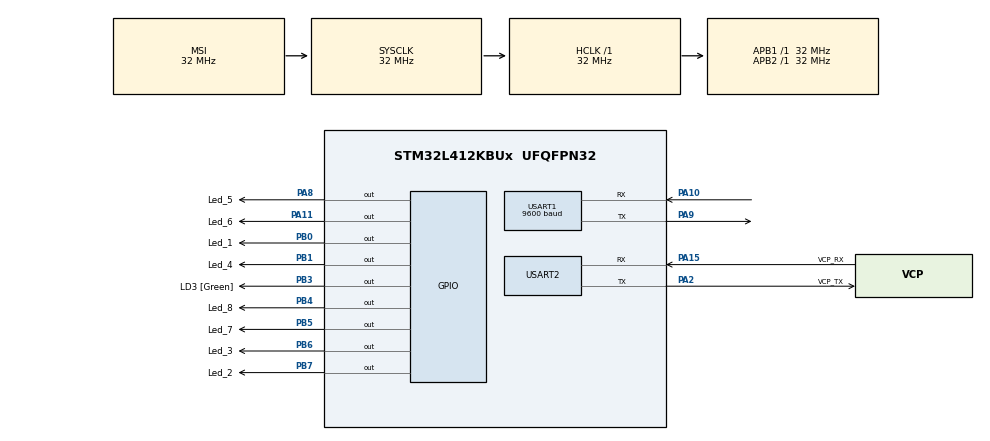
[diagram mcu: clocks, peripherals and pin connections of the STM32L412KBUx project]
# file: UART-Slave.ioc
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Mcu.Family=STM32L4
Mcu.Name=STM32L412KBUx
Mcu.Package=UFQFPN32
NVIC.PriorityGroup=NVIC_PRIORITYGROUP_4
NVIC.USART1_IRQn=true\:0\:0\:false\:false\:true\:true\:true\:true
NVIC.USART2_IRQn=true\:0\:0\:false\:false\:true\:true\:true\:true
PA0-CK_IN.Mode=HSE-External-Clock-Source-for-LittleOrca
PA0-CK_IN.Signal=RCC_CK_IN
PA10.Mode=Asynchronous
PA10.Signal=USART1_RX
PA11.GPIO_Label=Led_6
PA11.Signal=GPIO_Output
PA13\ (JTMS/SWDIO).GPIO_Label=SWDIO
PA13\ (JTMS/SWDIO).Mode=Serial_Wire
PA13\ (JTMS/SWDIO).Signal=SYS_JTMS-SWDIO
PA14\ (JTCK/SWCLK).GPIO_Label=SWCLK
PA14\ (JTCK/SWCLK).Mode=Serial_Wire
PA14\ (JTCK/SWCLK).Signal=SYS_JTCK-SWCLK
PA15\ (JTDI).GPIO_Label=VCP_RX
PA15\ (JTDI).Mode=Asynchronous
PA15\ (JTDI).Signal=USART2_RX
PA2.GPIO_Label=VCP_TX
PA2.Mode=Asynchronous
PA2.Signal=USART2_TX
PA8.GPIO_Label=Led_5
PA8.Signal=GPIO_Output
PA9.Mode=Asynchronous
PA9.Signal=USART1_TX
PB0.GPIO_Label=Led_1
PB0.Signal=GPIO_Output
PB1.GPIO_Label=Led_4
PB1.Signal=GPIO_Output
PB3\ (JTDO/TRACESWO).GPIO_Label=LD3 [Green]
PB3\ (JTDO/TRACESWO).Signal=GPIO_Output
PB4\ (NJTRST).GPIO_Label=Led_8
PB4\ (NJTRST).Signal=GPIO_Output
PB5.GPIO_Label=Led_7
PB5.Signal=GPIO_Output
PB6.GPIO_Label=Led_3
PB6.Signal=GPIO_Output
PB7.GPIO_Label=Led_2
PB7.Signal=GPIO_Output
PC14-OSC32_IN\ (PC14).Mode=LSE-External-Oscillator
PC14-OSC32_IN\ (PC14).Signal=RCC_OSC32_IN
PC15-OSC32_OUT\ (PC15).Mode=LSE-External-Oscillator
PC15-OSC32_OUT\ (PC15).Signal=RCC_OSC32_OUT
ProjectManager.HeapSize=0x200
ProjectManager.StackSize=0x400
ProjectManager.TargetToolchain=STM32CubeIDE
RCC.ADCFreq_Value=32000000
RCC.AHBFreq_Value=32000000
RCC.APB1Freq_Value=32000000
RCC.APB1TimFreq_Value=32000000
RCC.APB2Freq_Value=32000000
RCC.APB2TimFreq_Value=32000000
RCC.CortexFreq_Value=32000000
RCC.FLatency=FLASH_LATENCY_1
RCC.HCLKFreq_Value=32000000
RCC.HSE_VALUE=8000000
RCC.HSI48_VALUE=48000000
RCC.HSICalibrationValue=64
RCC.HSI_VALUE=16000000
RCC.LSE_Drive_Capability=RCC_LSEDRIVE_LOW
RCC.MSIClockRange=RCC_MSIRANGE_10
RCC.MSI_VALUE=32000000
RCC.SYSCLKFreq_VALUE=32000000
RCC.USBFreq_Value=32000000
RCC.VCOOutputFreq_Value=256000000
USART1.BaudRate=9600
USART1.VirtualMode-Asynchronous=VM_ASYNC
USART2.VirtualMode-Asynchronous=VM_ASYNC
board=NUCLEO-L412KB

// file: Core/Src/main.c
/* USER CODE BEGIN Header */
/**
  ******************************************************************************
  * @file           : main.c
  * @brief          : Main program body
  ******************************************************************************
  * @attention
  *
  * Copyright (c) 2026 STMicroelectronics.
  * All rights reserved.
  *
  * This software is licensed under terms that can be found in the LICENSE file
  * in the root directory of this software component.
  * If no LICENSE file comes with this software, it is provided AS-IS.
  *
  ******************************************************************************
  */
/* USER CODE END Header */
#include "main.h"

/* USER CODE BEGIN Includes */
#include <stdio.h>
#include <string.h>
/* USER CODE END Includes */

UART_HandleTypeDef huart1;
UART_HandleTypeDef huart2;

/* USER CODE BEGIN PV */
static uint8_t rx_byte;
uint8_t led_number = 0;
/* USER CODE END PV */

void SystemClock_Config(void);
static void MX_GPIO_Init(void);
static void MX_USART1_UART_Init(void);
static void MX_USART2_UART_Init(void);

/* USER CODE BEGIN 0 */
void Update_LEDs(uint8_t count) {
    HAL_GPIO_WritePin(Led_1_GPIO_Port, Led_1_Pin, (count >= 1) ? GPIO_PIN_SET : GPIO_PIN_RESET);
    HAL_GPIO_WritePin(Led_2_GPIO_Port, Led_2_Pin, (count >= 2) ? GPIO_PIN_SET : GPIO_PIN_RESET);
    HAL_GPIO_WritePin(Led_3_GPIO_Port, Led_3_Pin, (count >= 3) ? GPIO_PIN_SET : GPIO_PIN_RESET);
    HAL_GPIO_WritePin(Led_4_GPIO_Port, Led_4_Pin, (count >= 4) ? GPIO_PIN_SET : GPIO_PIN_RESET);
    HAL_GPIO_WritePin(Led_5_GPIO_Port, Led_5_Pin, (count >= 5) ? GPIO_PIN_SET : GPIO_PIN_RESET);
    HAL_GPIO_WritePin(Led_6_GPIO_Port, Led_6_Pin, (count >= 6) ? GPIO_PIN_SET : GPIO_PIN_RESET);
    HAL_GPIO_WritePin(Led_7_GPIO_Port, Led_7_Pin, (count >= 7) ? GPIO_PIN_SET : GPIO_PIN_RESET);
    HAL_GPIO_WritePin(Led_8_GPIO_Port, Led_8_Pin, (count >= 8) ? GPIO_PIN_SET : GPIO_PIN_RESET);
}
/* USER CODE END 0 */

int main(void)
{

  /* MCU Configuration--------------------------------------------------------*/

  /* Reset of all peripherals, Initializes the Flash interface and the Systick. */
  HAL_Init();

  /* Configure the system clock */
  SystemClock_Config();

  /* Initialize all configured peripherals */
  MX_GPIO_Init();
  MX_USART1_UART_Init();
  MX_USART2_UART_Init();
  /* USER CODE BEGIN 2 */
  HAL_UART_Receive_IT(&huart1, &rx_byte, 1);
  /* USER CODE END 2 */

  /* Infinite loop */
  while (1)
  {

  }
}

void SystemClock_Config(void)
{
  RCC_OscInitTypeDef RCC_OscInitStruct = {0};
  RCC_ClkInitTypeDef RCC_ClkInitStruct = {0};

  /** Configure the main internal regulator output voltage
  */
  if (HAL_PWREx_ControlVoltageScaling(PWR_REGULATOR_VOLTAGE_SCALE1) != HAL_OK)
  {
    Error_Handler();
  }

  /** Configure LSE Drive Capability
  */
  HAL_PWR_EnableBkUpAccess();
  __HAL_RCC_LSEDRIVE_CONFIG(RCC_LSEDRIVE_LOW);

  /** Initializes the RCC Oscillators according to the specified parameters
  * in the RCC_OscInitTypeDef structure.
  */
  RCC_OscInitStruct.OscillatorType = RCC_OSCILLATORTYPE_LSE|RCC_OSCILLATORTYPE_MSI;
  RCC_OscInitStruct.LSEState = RCC_LSE_ON;
  RCC_OscInitStruct.MSIState = RCC_MSI_ON;
  RCC_OscInitStruct.MSICalibrationValue = 0;
  RCC_OscInitStruct.MSIClockRange = RCC_MSIRANGE_10;
  RCC_OscInitStruct.PLL.PLLState = RCC_PLL_NONE;
  if (HAL_RCC_OscConfig(&RCC_OscInitStruct) != HAL_OK)
  {
    Error_Handler();
  }

  /** Initializes the CPU, AHB and APB buses clocks
  */
  RCC_ClkInitStruct.ClockType = RCC_CLOCKTYPE_HCLK|RCC_CLOCKTYPE_SYSCLK
                              |RCC_CLOCKTYPE_PCLK1|RCC_CLOCKTYPE_PCLK2;
  RCC_ClkInitStruct.SYSCLKSource = RCC_SYSCLKSOURCE_MSI;
  RCC_ClkInitStruct.AHBCLKDivider = RCC_SYSCLK_DIV1;
  RCC_ClkInitStruct.APB1CLKDivider = RCC_HCLK_DIV1;
  RCC_ClkInitStruct.APB2CLKDivider = RCC_HCLK_DIV1;

  if (HAL_RCC_ClockConfig(&RCC_ClkInitStruct, FLASH_LATENCY_1) != HAL_OK)
  {
    Error_Handler();
  }

  /** Enable MSI Auto calibration
  */
  HAL_RCCEx_EnableMSIPLLMode();
}

static void MX_USART1_UART_Init(void)
{

  huart1.Instance = USART1;
  huart1.Init.BaudRate = 9600;
  huart1.Init.WordLength = UART_WORDLENGTH_8B;
  huart1.Init.StopBits = UART_STOPBITS_1;
  huart1.Init.Parity = UART_PARITY_NONE;
  huart1.Init.Mode = UART_MODE_TX_RX;
  huart1.Init.HwFlowCtl = UART_HWCONTROL_NONE;
  huart1.Init.OverSampling = UART_OVERSAMPLING_16;
  huart1.Init.OneBitSampling = UART_ONE_BIT_SAMPLE_DISABLE;
  huart1.AdvancedInit.AdvFeatureInit = UART_ADVFEATURE_NO_INIT;
  if (HAL_UART_Init(&huart1) != HAL_OK)
  {
    Error_Handler();
  }

}

static void MX_USART2_UART_Init(void)
{

  huart2.Instance = USART2;
  huart2.Init.BaudRate = 115200;
  huart2.Init.WordLength = UART_WORDLENGTH_8B;
  huart2.Init.StopBits = UART_STOPBITS_1;
  huart2.Init.Parity = UART_PARITY_NONE;
  huart2.Init.Mode = UART_MODE_TX_RX;
  huart2.Init.HwFlowCtl = UART_HWCONTROL_NONE;
  huart2.Init.OverSampling = UART_OVERSAMPLING_16;
  huart2.Init.OneBitSampling = UART_ONE_BIT_SAMPLE_DISABLE;
  huart2.AdvancedInit.AdvFeatureInit = UART_ADVFEATURE_NO_INIT;
  if (HAL_UART_Init(&huart2) != HAL_OK)
  {
    Error_Handler();
  }

}

static void MX_GPIO_Init(void)
{
  GPIO_InitTypeDef GPIO_InitStruct = {0};

  /* GPIO Ports Clock Enable */
  __HAL_RCC_GPIOC_CLK_ENABLE();
  __HAL_RCC_GPIOA_CLK_ENABLE();
  __HAL_RCC_GPIOB_CLK_ENABLE();

  /*Configure GPIO pin Output Level */
  HAL_GPIO_WritePin(GPIOB, Led_1_Pin|Led_4_Pin|LD3_Pin|Led_8_Pin
                          |Led_7_Pin|Led_3_Pin|Led_2_Pin, GPIO_PIN_RESET);

  /*Configure GPIO pin Output Level */
  HAL_GPIO_WritePin(GPIOA, Led_5_Pin|Led_6_Pin, GPIO_PIN_RESET);

  /*Configure GPIO pins : Led_1_Pin Led_4_Pin LD3_Pin Led_8_Pin
                           Led_7_Pin Led_3_Pin Led_2_Pin */
  GPIO_InitStruct.Pin = Led_1_Pin|Led_4_Pin|LD3_Pin|Led_8_Pin
                          |Led_7_Pin|Led_3_Pin|Led_2_Pin;
  GPIO_InitStruct.Mode = GPIO_MODE_OUTPUT_PP;
  GPIO_InitStruct.Pull = GPIO_NOPULL;
  GPIO_InitStruct.Speed = GPIO_SPEED_FREQ_LOW;
  HAL_GPIO_Init(GPIOB, &GPIO_InitStruct);

  /*Configure GPIO pins : Led_5_Pin Led_6_Pin */
  GPIO_InitStruct.Pin = Led_5_Pin|Led_6_Pin;
  GPIO_InitStruct.Mode = GPIO_MODE_OUTPUT_PP;
  GPIO_InitStruct.Pull = GPIO_NOPULL;
  GPIO_InitStruct.Speed = GPIO_SPEED_FREQ_LOW;
  HAL_GPIO_Init(GPIOA, &GPIO_InitStruct);

}

/* USER CODE BEGIN 4 */
void HAL_UART_RxCpltCallback(UART_HandleTypeDef *huart) {
    if (huart == &huart1) {
        if (rx_byte == 0xFF) {
            HAL_UART_Transmit(&huart1, &rx_byte, 1, 10);
        } else if (rx_byte <= 8) {
            led_number = rx_byte;
            Update_LEDs(led_number);
        }
        HAL_UART_Receive_IT(&huart1, &rx_byte, 1);
    }
}

/* USER CODE END 4 */

void Error_Handler(void)
{
  __disable_irq();
  while (1)
  {
  }
}
